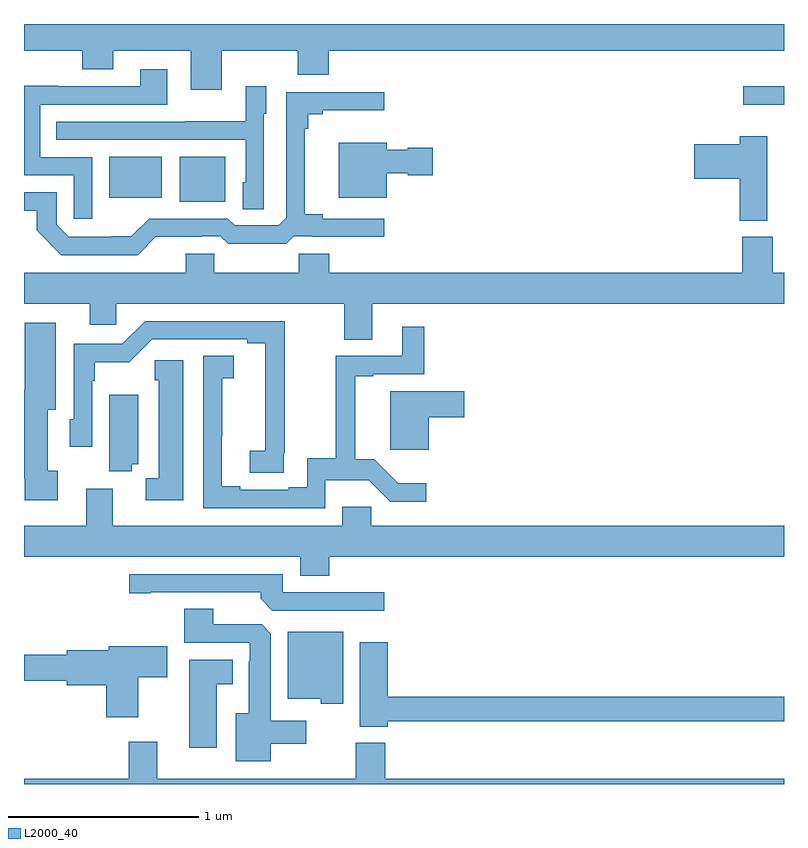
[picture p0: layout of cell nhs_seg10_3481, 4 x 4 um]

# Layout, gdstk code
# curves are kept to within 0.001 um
import gdstk
lib = gdstk.Library(unit=1e-6, precision=1e-09)
def R(c, l, rs):  # rectangles x0, y0, x1, y1
    for r in rs: c.add(gdstk.rectangle(r[:2], r[2:], *l))
def P(c, l, *ps):  # polygons
    for p in ps: c.add(gdstk.Polygon(p, *l))
L2000_40 = (2000, 40)

nhs_seg10_3481 = lib.new_cell('nhs_seg10_3481')
R(nhs_seg10_3481, L2000_40, [(301.82,1255.565,302.059,1255.801), (301.448,1255.586,301.726,1255.801), (304.785,1256.076,305,1256.172)])
P(nhs_seg10_3481, L2000_40, [(302.041,1256.36),(302.441,1256.36),(302.441,1256.232),(302.605,1256.232),(302.605,1256.36),(305,1256.36),(305,1256.5),(301,1256.5),(301,1256.36),(301.307,1256.36),(301.307,1256.261),(301.471,1256.261),(301.471,1256.36),(301.877,1256.36),(301.877,1256.154),(302.041,1256.154)],
  [(301.359,1255.8),(301.086,1255.8),(301.086,1256.076),(301.753,1256.076),(301.753,1256.263),(301.613,1256.263),(301.613,1256.172),(301.183,1256.172),(301.183,1256.174),(301,1256.174),(301,1255.704),(301.263,1255.704),(301.263,1255.476),(301.359,1255.476)],
  [(302.262,1256.028),(302.275,1256.028),(302.275,1256.173),(302.166,1256.173),(302.166,1255.987),(301.849,1255.987),(301.849,1255.986),(301.171,1255.986),(301.171,1255.89),(302.166,1255.89),(302.166,1255.668),(302.15,1255.668),(302.15,1255.525),(302.262,1255.525)],
  [(301.694,1255.379),(301.934,1255.379),(301.934,1255.383),(302.034,1255.383),(302.074,1255.344),(302.381,1255.344),(302.421,1255.383),(302.515,1255.383),(302.515,1255.379),(302.896,1255.379),(302.896,1255.476),(302.572,1255.476),(302.572,1255.499),(302.477,1255.499),(302.477,1255.949),(302.495,1255.949),(302.495,1256.026),(302.572,1256.026),(302.572,1256.045),(302.896,1256.045),(302.896,1256.142),(302.379,1256.142),(302.379,1255.479),(302.34,1255.44),(302.109,1255.44),(302.073,1255.476),(301.659,1255.476),(301.565,1255.382),(301.46,1255.382),(301.46,1255.38),(301.236,1255.38),(301.173,1255.443),(301.173,1255.614),(301,1255.614),(301,1255.517),(301.066,1255.517),(301.066,1255.415),(301.196,1255.284),(301.599,1255.284)],
  [(304.912,1255.909),(304.766,1255.909),(304.766,1255.868),(304.527,1255.868),(304.527,1255.685),(304.766,1255.685),(304.766,1255.465),(304.912,1255.465)],
  [(302.908,1255.715),(303.021,1255.715),(303.021,1255.703),(303.151,1255.703),(303.151,1255.85),(303.021,1255.85),(303.021,1255.837),(302.908,1255.837),(302.908,1255.876),(302.657,1255.876),(302.657,1255.586),(302.908,1255.586)],
  [(302.833,1255.028),(305,1255.028),(305,1255.192),(304.941,1255.192),(304.941,1255.38),(304.781,1255.38),(304.781,1255.192),(302.606,1255.192),(302.606,1255.29),(302.446,1255.29),(302.446,1255.192),(302.001,1255.192),(302.001,1255.29),(301.85,1255.29),(301.85,1255.192),(301,1255.192),(301,1255.028),(301.346,1255.028),(301.346,1254.918),(301.485,1254.918),(301.485,1255.028),(302.686,1255.028),(302.686,1254.838),(302.833,1254.838)],
  [(302.366,1254.241),(302.372,1254.241),(302.372,1254.936),(301.638,1254.936),(301.518,1254.816),(301.263,1254.816),(301.263,1254.42),(301.242,1254.42),(301.242,1254.276),(301.359,1254.276),(301.359,1254.623),(301.372,1254.623),(301.372,1254.719),(301.553,1254.719),(301.674,1254.84),(302.174,1254.84),(302.174,1254.82),(302.27,1254.82),(302.269,1254.254),(302.187,1254.254),(302.187,1254.139),(302.366,1254.139)],
  [(301.177,1254.15),(301.126,1254.15),(301.126,1254.47),(301.168,1254.47),(301.168,1254.928),(301.004,1254.928),(301.004,1254.574),(301,1254.574),(301,1254.106),(301.004,1254.106),(301.004,1253.994),(301.177,1253.994)],
  [(302.586,1254.098),(302.815,1254.098),(302.928,1253.985),(303.118,1253.985),(303.118,1254.082),(302.969,1254.082),(302.843,1254.208),(302.744,1254.208),(302.744,1254.645),(302.839,1254.645),(302.839,1254.657),(303.107,1254.657),(303.107,1254.907),(302.99,1254.907),(302.99,1254.753),(302.641,1254.753),(302.641,1254.215),(302.49,1254.215),(302.49,1254.062),(302.393,1254.062),(302.393,1254.048),(302.137,1254.048),(302.137,1254.068),(302.041,1254.068),(302.041,1254.331),(302.043,1254.331),(302.043,1254.635),(302.104,1254.635),(302.104,1254.755),(301.944,1254.755),(301.944,1253.952),(302.586,1253.952)],
  [(301.837,1254.73),(301.687,1254.73),(301.687,1254.624),(301.709,1254.624),(301.709,1254.108),(301.641,1254.108),(301.641,1253.993),(301.837,1253.993)],
  [(303.13,1254.43),(303.316,1254.43),(303.316,1254.567),(302.927,1254.567),(302.927,1254.26),(303.13,1254.26)],
  [(301.568,1254.182),(301.6,1254.182),(301.6,1254.55),(301.448,1254.55),(301.448,1254.145),(301.568,1254.145)],
  [(302.606,1253.696),(305,1253.696),(305,1253.86),(302.827,1253.86),(302.827,1253.958),(302.675,1253.958),(302.675,1253.86),(301.468,1253.86),(301.468,1254.055),(301.328,1254.055),(301.328,1253.86),(301,1253.86),(301,1253.696),(302.453,1253.696),(302.453,1253.597),(302.606,1253.597)],
  [(302.896,1253.508),(302.361,1253.508),(302.361,1253.604),(301.554,1253.604),(301.554,1253.503),(301.666,1253.503),(301.666,1253.508),(302.246,1253.508),(302.246,1253.474),(302.307,1253.412),(302.896,1253.412)],
  [(302.299,1252.712),(302.485,1252.712),(302.485,1252.834),(302.299,1252.834),(302.299,1253.291),(302.25,1253.34),(301.996,1253.34),(301.996,1253.423),(301.844,1253.423),(301.844,1253.244),(302.187,1253.244),(302.187,1253.147),(302.183,1253.147),(302.183,1252.873),(302.114,1252.873),(302.114,1252.619),(302.299,1252.619)],
  [(302.68,1253.302),(302.387,1253.302),(302.387,1252.949),(302.562,1252.949),(302.562,1252.922),(302.68,1252.922)],
  [(302.915,1252.83),(305,1252.83),(305,1252.958),(302.915,1252.958),(302.915,1253.245),(302.768,1253.245),(302.768,1252.802),(302.915,1252.802)],
  [(301.6,1253.062),(301.753,1253.062),(301.753,1253.224),(301.445,1253.224),(301.445,1253.204),(301.226,1253.204),(301.226,1253.18),(301,1253.18),(301,1253.044),(301.226,1253.044),(301.226,1253.021),(301.433,1253.021),(301.433,1252.851),(301.6,1252.851)],
  [(302.014,1253.024),(302.098,1253.024),(302.098,1253.155),(301.871,1253.155),(301.871,1252.692),(302.014,1252.692)],
  [(305,1252.528),(302.9,1252.528),(302.9,1252.717),(302.747,1252.717),(302.747,1252.528),(301.702,1252.528),(301.702,1252.723),(301.55,1252.723),(301.55,1252.528),(301,1252.528),(301,1252.5),(305,1252.5)])

lib.write_gds('nhs_seg10_3481.gds')
